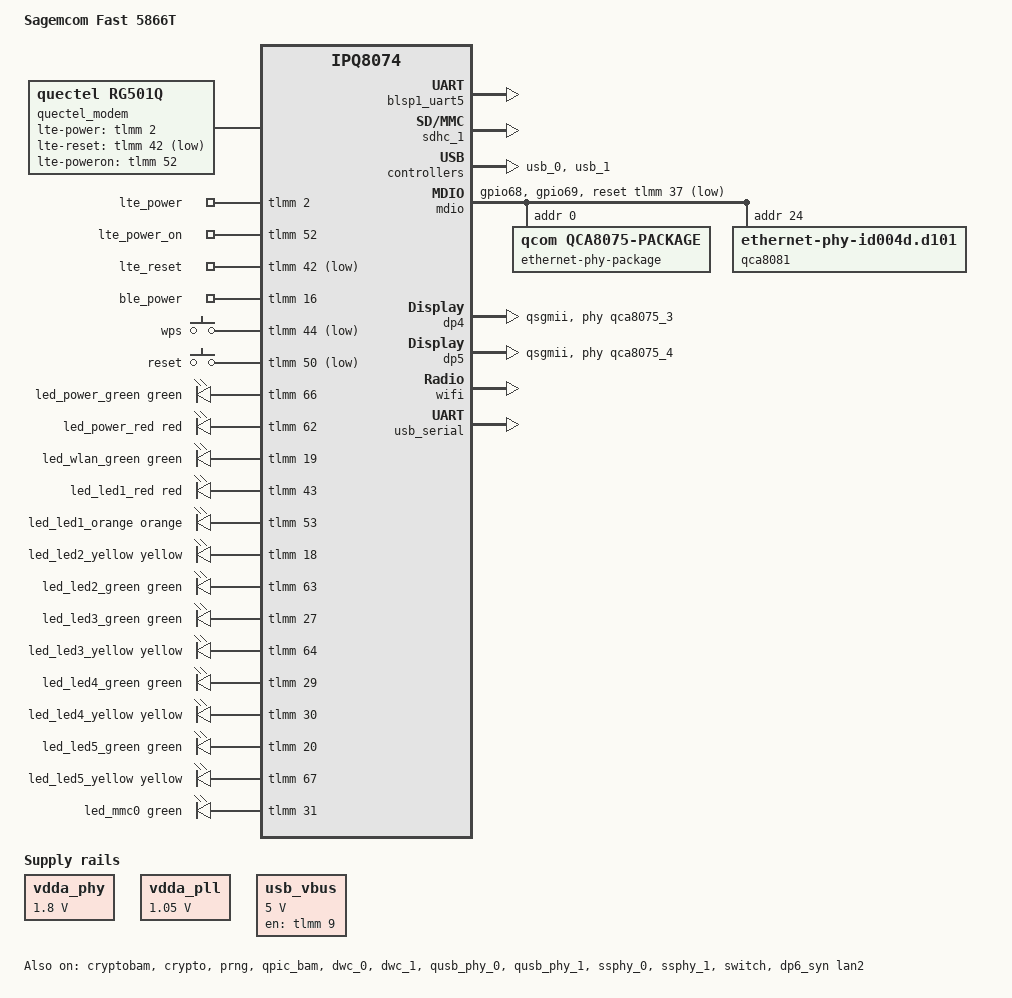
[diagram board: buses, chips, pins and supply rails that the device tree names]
// SPDX-License-Identifier: GPL-2.0-or-later OR MIT

/dts-v1/;

#include "ipq8074.dtsi"
#include "ipq8074-hk-cpu.dtsi"
#include "ipq8074-ess.dtsi"
#include <dt-bindings/gpio/gpio.h>
#include <dt-bindings/input/input.h>
#include <dt-bindings/leds/common.h>

/ {
	model = "Sagemcom Fast 5866T";
	compatible = "sagemcom,5866t", "qcom,ipq8074-ap-hk06", "qcom,ipq8074";

	aliases {
		led-boot = &led_power_green;
		led-failsafe = &led_power_red;
		led-running = &led_power_green;
		led-upgrade = &led_power_red;
		serial0 = &blsp1_uart5;
		ethernet3 = &dp4;
		ethernet4 = &dp5;
		ethernet5 = &dp6;
		label-mac-device = &dp4;
	};

	chosen {
		stdout-path = "serial0:115200n8";
		bootargs-append = "swiotlb=1 coherent_pool=2M usb-storage.quirks=2c7c:0800:u";
	};

	vdda_phy: regulator-fixed {
		compatible = "regulator-fixed";
		regulator-name = "vdda-phy";
		regulator-min-microvolt = <1800000>;
		regulator-max-microvolt = <1800000>;
		regulator-always-on;
	};

	vdda_pll: regulator-fixed {
		compatible = "regulator-fixed";
		regulator-name = "vdda-pll";
		regulator-min-microvolt = <1050000>;
		regulator-max-microvolt = <1050000>;
		regulator-always-on;
	};

    quectel_modem: quectel-modem {
        compatible = "quectel,rg501q", "qcom,cdc-mbim";
        status = "okay";
        lte-power-gpio = <&tlmm 2 GPIO_ACTIVE_HIGH>;
        lte-reset-gpio = <&tlmm 42 GPIO_ACTIVE_LOW>;
        lte-poweron-gpio = <&tlmm 52 GPIO_ACTIVE_HIGH>;
    };

	gpio-export {
		compatible = "gpio-export";

		lte-power {
			gpio-export,name = "lte_power";
			gpio-export,output = <1>;
			gpios = <&tlmm 2 GPIO_ACTIVE_HIGH>;
		};

		lte-power-on {
			gpio-export,name = "lte_power_on";
			gpio-export,output = <0>;
			gpios = <&tlmm 52 GPIO_ACTIVE_HIGH>;
		};

		lte-reset {
			gpio-export,name = "lte_reset";
			gpio-export,output = <0>;
			gpios = <&tlmm 42 GPIO_ACTIVE_LOW>;
		};

		ble-power {
			gpio-export,name = "ble_power";
			gpio-export,output = <1>;
			gpios = <&tlmm 16 GPIO_ACTIVE_HIGH>;
		};
	};

	keys {
		compatible = "gpio-keys";

		wps {
			label = "wps";
			linux,code = <KEY_WPS_BUTTON>;
			gpios = <&tlmm 44 GPIO_ACTIVE_LOW>;
			debounce-interval = <60>;
		};

		reset {
			label = "reset";
			linux,code = <KEY_RESTART>;
			gpios = <&tlmm 50 GPIO_ACTIVE_LOW>;
			debounce-interval = <60>;
		};
	};

	leds {
		compatible = "gpio-leds";

		led_power_green: power_green {
			function = LED_FUNCTION_POWER;
			color = <LED_COLOR_ID_GREEN>;
			gpios = <&tlmm 66 GPIO_ACTIVE_HIGH>;
			default-state = "on";
		};

		led_power_red: power_red {
			function = LED_FUNCTION_POWER;
			color = <LED_COLOR_ID_RED>;
			gpios = <&tlmm 62 GPIO_ACTIVE_HIGH>;
			default-state = "off";
		};

		led_wlan_green: wlan_green {
			function = LED_FUNCTION_WLAN;
			color = <LED_COLOR_ID_GREEN>;
			gpios = <&tlmm 19 GPIO_ACTIVE_HIGH>;
			default-state = "on";
		};

		led_led1_red: led1_red {
			function = "status";
			color = <LED_COLOR_ID_RED>;
			gpios = <&tlmm 43 GPIO_ACTIVE_HIGH>;
			default-state = "off";
		};

		led_led1_orange: led1_orange {
			function = "status";
			color = <LED_COLOR_ID_ORANGE>;
			gpios = <&tlmm 53 GPIO_ACTIVE_HIGH>;
			default-state = "off";
		};

		led_led2_yellow: led2_yellow {
			function = "status";
			color = <LED_COLOR_ID_YELLOW>;
			gpios = <&tlmm 18 GPIO_ACTIVE_HIGH>;
			default-state = "off";
		};

		led_led2_green: led2_green {
			function = "status";
			color = <LED_COLOR_ID_GREEN>;
			gpios = <&tlmm 63 GPIO_ACTIVE_HIGH>;
			default-state = "on";
		};

		led_led3_green: led3_green {
			function = "status";
			color = <LED_COLOR_ID_GREEN>;
			gpios = <&tlmm 27 GPIO_ACTIVE_HIGH>;
			default-state = "on";
		};

		led_led3_yellow: led3_yellow {
			function = "status";
			color = <LED_COLOR_ID_YELLOW>;
			gpios = <&tlmm 64 GPIO_ACTIVE_HIGH>;
			default-state = "off";
		};

		led_led4_green: led4_green {
			function = "status";
			color = <LED_COLOR_ID_GREEN>;
			gpios = <&tlmm 29 GPIO_ACTIVE_HIGH>;
			default-state = "on";
		};

		led_led4_yellow: led4_yellow {
			function = "status";
			color = <LED_COLOR_ID_YELLOW>;
			gpios = <&tlmm 30 GPIO_ACTIVE_HIGH>;
			default-state = "off";
		};

		led_led5_green: led5_green {
			function = "status";
			color = <LED_COLOR_ID_GREEN>;
			gpios = <&tlmm 20 GPIO_ACTIVE_HIGH>;
			default-state = "on";
		};

		led_led5_yellow: led5_yellow {
			function = "status";
			color = <LED_COLOR_ID_YELLOW>;
			gpios = <&tlmm 67 GPIO_ACTIVE_HIGH>;
			default-state = "off";
		};
		led_mmc0: mmc0 {
			function = "mmc";
			color = <LED_COLOR_ID_GREEN>;
			gpios = <&tlmm 31 GPIO_ACTIVE_HIGH>;
			linux,default-trigger = "mmc0";
			default-state = "on";
		};
	};

	usb_vbus: regulator-usb-vbus {
		compatible = "regulator-fixed";
		regulator-name = "usb_vbus";
		regulator-min-microvolt = <5000000>;
		regulator-max-microvolt = <5000000>;
		gpio = <&tlmm 9 GPIO_ACTIVE_HIGH>;
		enable-active-high;
		regulator-boot-on;
		regulator-always-on;
		startup-delay-us = <10000>;
	};
};

&tlmm {
	mdio_pins: mdio-pins {
		mdc {
			pins = "gpio68";
			function = "mdc";
			drive-strength = <8>;
			bias-pull-up;
		};

		mdio {
			pins = "gpio69";
			function = "mdio";
			drive-strength = <8>;
			bias-pull-up;
		};
	};

	usb_power_pin: usb-power-pin {
		pins = "gpio9";
		function = "gpio";
		drive-strength = <8>;
		bias-pull-up;
		output-high;
	};

	led_pins: led-pins {
		pins = "gpio18", "gpio19", "gpio20", "gpio27", "gpio29", 
		       "gpio30", "gpio43", "gpio53", "gpio62", "gpio63", 
		       "gpio64", "gpio66", "gpio67";
		function = "gpio";
		drive-strength = <8>;
		bias-pull-down;
	};

	modem_pins: modem-pins {
		pins = "gpio2", "gpio42", "gpio52";
		function = "gpio";
		drive-strength = <8>;
		bias-pull-up;
	};
};

&blsp1_uart5 {
	status = "okay";
};

&cryptobam {
	status = "okay";
};

&crypto {
	status = "okay";
};

&prng {
	status = "okay";
};

&qpic_bam {
	status = "okay";
};

&sdhc_1 {
	/delete-property/ mmc-hs400-1_8v;
	mmc-hs200-1_8v;
	mmc-ddr-1_8v;
	vqmmc-supply = <&l11>;
	status = "okay";

	partitions {
		compatible = "fixed-partitions";
		#address-cells = <1>;
		#size-cells = <1>;

		partition@0 {
			label = "sbl1";
			reg = <0x00008800 0x80000>;
			read-only;
		};

		partition@2 {
			label = "bootconfig";
			reg = <0x00010800 0x40000>;
			read-only;
		};

		partition@3 {
			label = "bootconfig1";
			reg = <0x00018800 0x40000>;
			read-only;
		};

		partition@4 {
			label = "qsee";
			reg = <0x00020800 0x180000>;
		};

		partition@5 {
			label = "qsee_1";
			reg = <0x00038800 0x180000>;
		};

		partition@6 {
			label = "devcfg";
			reg = <0x00050800 0x40000>;
		};

		partition@7 {
			label = "devcfg_1";
			reg = <0x00058800 0x40000>;
		};

		partition@8 {
			label = "apdp";
			reg = <0x00060800 0x40000>;
		};

		partition@9 {
			label = "apdp_1";
			reg = <0x00068800 0x40000>;
		};

		partition@10 {
			label = "rpm";
			reg = <0x00070800 0x40000>;
		};

		partition@11 {
			label = "rpm_1";
			reg = <0x00078800 0x40000>;
		};

		partition@12 {
			label = "cdt";
			reg = <0x00080800 0x40000>;
		};

		partition@13 {
			label = "cdt_1";
			reg = <0x00088800 0x40000>;
		};

		partition@14 {
			label = "appsblenv";
			reg = <0x00090800 0xa0000>;
		};

		partition@15 {
			label = "appsbl";
			reg = <0x0009a800 0xa0000>;
		};

		partition@16 {
			label = "appsbl_1";
			reg = <0x000a4800 0xa0000>;
		};

		partition@17 {
			label = "art";
			reg = <0x000ae800 0x40000>;
			read-only;
		};

		partition@18 {
			label = "hlos";
			reg = <0x000b6800 0x600000>;
		};

		partition@19 {
			label = "rootfs";
			reg = <0x00116800 0x12c00000>;
		};

		partition@20 {
			label = "wififw";
			reg = <0x013d6800 0x400000>;
		};

		partition@21 {
			label = "ethphyfw";
			reg = <0x01416800 0x80000>;
		};

		partition@22 {
			label = "rootfs_data";
			reg = <0x014e2000 0x1ec1e000>;
		};
	};
};

&usb_0 {
	status = "okay";
};

&usb_1 {
	status = "okay";
};

&dwc_0 {
	status = "okay";
};

&dwc_1 {
	status = "okay";
};

&qusb_phy_0 {
	status = "okay";
	vdd-supply = <&usb_vbus>;
	vdda-phy-supply = <&vdda_phy>;
	vdda-pll-supply = <&vdda_pll>;
};

&qusb_phy_1 {
	status = "okay";
	vdd-supply = <&usb_vbus>;
	vdda-phy-supply = <&vdda_phy>;
	vdda-pll-supply = <&vdda_pll>;
};

&ssphy_0 {
	status = "okay";
	vdd-supply = <&usb_vbus>;
	vdda-phy-supply = <&vdda_phy>;
	vdda-pll-supply = <&vdda_pll>;
};

&ssphy_1 {
	status = "okay";
	vdd-supply = <&usb_vbus>;
	vdda-phy-supply = <&vdda_phy>;
	vdda-pll-supply = <&vdda_pll>;
};

&mdio {
	status = "okay";

	pinctrl-0 = <&mdio_pins>;
	pinctrl-names = "default";
	reset-gpios = <&tlmm 37 GPIO_ACTIVE_LOW>;

	ethernet-phy-package@0 {
		compatible = "qcom,qca8075-package";
		#address-cells = <1>;
		#size-cells = <0>;
		reg = <0>;

		qcom,package-mode = "qsgmii";

		qca8075_3: ethernet-phy@3 {
			compatible = "ethernet-phy-ieee802.3-c22";
			reg = <3>;
		};

		qca8075_4: ethernet-phy@4 {
			compatible = "ethernet-phy-ieee802.3-c22";
			reg = <4>;
		};
	};

	qca8081: ethernet-phy@24 {
		compatible = "ethernet-phy-id004d.d101";
		reg = <24>;
		reset-deassert-us = <10000>;
	};
};

&switch {
	status = "okay";

	switch_lan_bmp = <(ESS_PORT4 | ESS_PORT5)>;
	switch_wan_bmp = <ESS_PORT6>;
	switch_mac_mode = <MAC_MODE_QSGMII>;

	qcom,port_phyinfo {
		port@1 {
			port_id = <1>;
			phy_address = <3>;
		};
		port@2 {
			port_id = <2>;
			phy_address = <4>;
		};
		port@6 {
			port_id = <6>;
			phy_address = <24>;
			port_mac_sel = "QGMAC_PORT";
		};
	};
};

&edma {
	status = "okay";
};

&dp4 {
	status = "okay";
	phy-mode = "qsgmii";
	phy-handle = <&qca8075_3>;
	label = "lan1";
};

&dp5 {
	status = "okay";
	phy-mode = "qsgmii";
	phy-handle = <&qca8075_4>;
	label = "wan";
};

&dp6_syn {
	status = "okay";
	phy-handle = <&qca8081>;
	label = "lan2";
};

&wifi {
	status = "okay";

	qcom,ath11k-calibration-variant = "Sagemcom-5866T";
};

&soc {
	usb_serial: usb-serial {
		compatible = "usb-serial";
		status = "okay";
		num_ports = <4>;
	};
};
